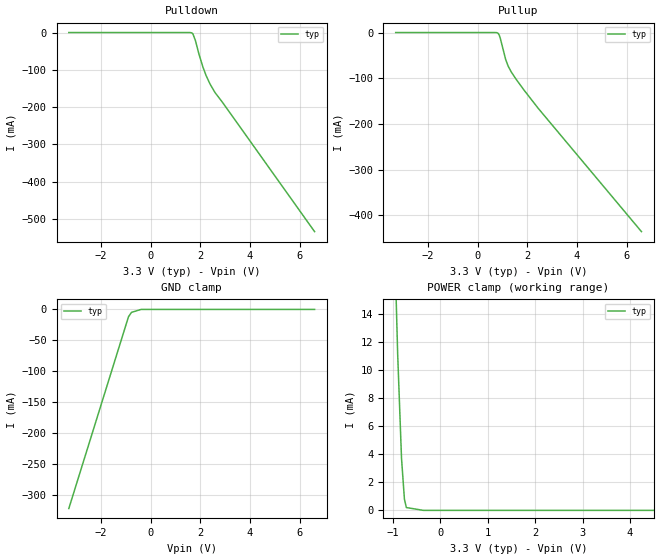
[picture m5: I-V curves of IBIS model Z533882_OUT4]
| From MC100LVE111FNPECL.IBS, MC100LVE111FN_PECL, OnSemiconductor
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| (C) COPYRIGHT 1993-2000
| MENTOR GRAPHICS CORPORATION
| ICX STANDARD LIBRARY, ICX PROJECT MODELING,
| ICX CUSTOM MODELING, ICX VENDOR MODEL
| ALL RIGHTS RESERVED.
| THE FOLLOWING ARE TRADEMARKS OR SERVICE MARKS OF
| MENTOR GRAPHICS CORPORATION:ICX (R), ICX STANDARD
| LIBRARY(R), ICX PROJECT MODELING(R), ICX CUSTOM
| MODELING(R), qualityIBIS(TM), MODELVIEWER(TM),
| AND MODELEDITOR(TM)
| ALL COPIES OF SOFTWARE, INCLUDING BUT NOT LIMITED TO
| ANY MODIFICATIONS, ENHANCEMENTS OR DERIVATIVE WORKS,
| MUST CONTAIN ALL MENTOR GRAPHICS CORPORATION'S
| NOTICES AND LEGENDS, INCLUDING THOSE EMBEDDED IN
| SOFTWARE AND THOSE AFFIXED TO SOFTWARE MEDIUM
| AND CONTAINER, AS RECEIVED FROM MENTOR GRAPHICS
| CORPORATION.
| Model Application Version 1.89 2/18/99.
[Model] Z533882_OUT4
Model_type Output_ECL
Vref=1.300V
Rref=50.00ohms
Cref=0.000F
Vmeas=2.207V
C_comp 8.000pF NA NA
| variable typ   min   max
[Voltage Range] 3.300V NA NA
[POWER Clamp Reference] 3.300V NA NA
[Pullup Reference] 3.300V NA NA
[Pulldown Reference] 3.300V NA NA
[GND Clamp Reference] 0.000V NA NA
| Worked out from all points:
|   POWER clamp passes 1 mA (typ) near -0.76 V on its own axis
[GND Clamp]
-3.3V     -321.2mA   NA         NA
-896mV    -11.84mA   NA         NA
-775mV    -4.746mA   NA         NA
-387.5mV  0A         NA         NA
6.6V      0A         NA         NA
[Pulldown]
-3.3V     0A         NA         NA
1.658V    -1.1mA     NA         NA
1.699V    -3.7mA     NA         NA
1.8V      -21.6mA    NA         NA
1.942V    -57.8mA    NA         NA
2.104V    -93mA      NA         NA
2.226V    -114.7mA   NA         NA
2.388V    -138mA     NA         NA
2.591V    -161.1mA   NA         NA
2.876V    -185.8mA   NA         NA
6.6V      -533.8mA   NA         NA
[Pullup]
-3.3V     0A         NA         NA
704mV     0A         NA         NA
826mV     -1.7mA     NA         NA
866mV     -5mA       NA         NA
907mV     -11.1mA    NA         NA
1.13V     -59.1mA    NA         NA
1.232V    -73.8mA    NA         NA
1.536V    -101.2mA   NA         NA
2.449V    -166.5mA   NA         NA
6.6V      -436mA     NA         NA
[POWER Clamp]
-3.3V     353.5mA    NA         NA
-1.021V   26.1mA     NA         NA
-899mV    11.1mA     NA         NA
-818mV    3.7mA      NA         NA
-757mV    800uA      NA         NA
-716mV    200uA      NA         NA
-358mV    0A         NA         NA
6.6V      0A         NA         NA
[Ramp]
| variable typ min max
dV/dt_r 496.1m/301.8p NA NA
dV/dt_f 496.1m/157.4p NA NA
R_load = 500.0Ohms
